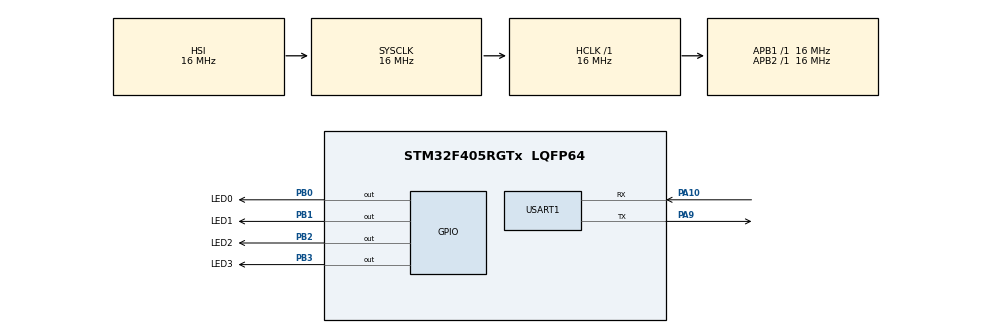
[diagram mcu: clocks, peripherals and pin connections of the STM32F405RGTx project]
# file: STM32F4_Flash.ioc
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Mcu.Family=STM32F4
Mcu.Name=STM32F405RGTx
Mcu.Package=LQFP64
NVIC.PriorityGroup=NVIC_PRIORITYGROUP_4
PA10.Mode=Asynchronous
PA10.Signal=USART1_RX
PA9.Mode=Asynchronous
PA9.Signal=USART1_TX
PB0.GPIO_Label=LED0
PB0.Signal=GPIO_Output
PB1.GPIO_Label=LED1
PB1.Signal=GPIO_Output
PB2.GPIO_Label=LED2
PB2.Signal=GPIO_Output
PB3.GPIO_Label=LED3
PB3.Signal=GPIO_Output
PH0-OSC_IN.Mode=HSE-External-Oscillator
PH0-OSC_IN.Signal=RCC_OSC_IN
PH1-OSC_OUT.Mode=HSE-External-Oscillator
PH1-OSC_OUT.Signal=RCC_OSC_OUT
ProjectManager.HeapSize=0x200
ProjectManager.StackSize=0x400
ProjectManager.TargetToolchain=STM32CubeIDE
RCC.AHBFreq_Value=16000000
RCC.APB1Freq_Value=16000000
RCC.APB2Freq_Value=16000000
RCC.CortexFreq_Value=16000000
RCC.HSE_VALUE=25000000
RCC.HSI_VALUE=16000000
RCC.LSE_VALUE=32768
RCC.SYSCLKFreq_VALUE=16000000
RCC.VCOOutputFreq_Value=192000000
USART1.VirtualMode=VM_ASYNC
board=custom

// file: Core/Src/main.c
/* USER CODE BEGIN Header */
/**
 ******************************************************************************
 * @file           : main.c
 * @brief          : Main program body
 ******************************************************************************
 * @attention
 *
 * Copyright (c) 2022 STMicroelectronics.
 * All rights reserved.
 *
 * This software is licensed under terms that can be found in the LICENSE file
 * in the root directory of this software component.
 * If no LICENSE file comes with this software, it is provided AS-IS.
 *
 ******************************************************************************
 */
/* USER CODE END Header */
#include "main.h"

/* USER CODE BEGIN Includes */
#include <stdio.h>
#include <string.h>
#include <stm32f4xx_hal.h>
#include "Flash.h"
/* USER CODE END Includes */

UART_HandleTypeDef huart1;

void SystemClock_Config(void);
static void MX_GPIO_Init(void);
static void MX_USART1_UART_Init(void);
/* USER CODE BEGIN PFP */
#ifdef __GNUC__
 /* With GCC/RAISONANCE, small printf (option LD Linker->Libraries->Small printf
 set to 'Yes') calls __io_putchar() */
 #define PUTCHAR_PROTOTYPE int __io_putchar(int ch)
#else
 #define PUTCHAR_PROTOTYPE int fputc(int ch, FILE *f)
#endif /* __GNUC__ */
/* USER CODE END PFP */

int main(void)
{
  /* USER CODE BEGIN 1 */
  char *data =
      "hello FLASH from ControllerTech\
          This is a test to see how many words can we work with";

  uint32_t data2[] =
  { 0x1, 0x2, 0x3, 0x4, 0x5, 0x6, 0x7, 0x8, 0x9 };
  uint32_t Rx_Data[30];

  char string[100];

  int number = 123;

  float val = 123.456;
  float RxVal;
  /* USER CODE END 1 */

  /* MCU Configuration--------------------------------------------------------*/

  /* Reset of all peripherals, Initializes the Flash interface and the Systick. */
  HAL_Init();

  /* Configure the system clock */
  SystemClock_Config();

  /* Initialize all configured peripherals */
  MX_GPIO_Init();
  MX_USART1_UART_Init();

  /* Infinite loop */
  while (1)
  {

    /* USER CODE BEGIN 3 */
    Flash_Write_Data(0x08004100, (uint32_t*) data2, 9);
    Flash_Read_Data(0x08004100, Rx_Data, 10);

    int numofwords = (strlen(data) / 4) + ((strlen(data) % 4) != 0);
    Flash_Write_Data(0x08008100, (uint32_t*) data, numofwords);
    Flash_Read_Data(0x08008100, Rx_Data, numofwords);
    Convert_To_Str(Rx_Data, string);

    Flash_Write_NUM(0x0800C100, number);
    //RxVal = Flash_Read_NUM(0x0800C100);

    Flash_Write_NUM(0x0800D100, val);
    RxVal = Flash_Read_NUM(0x0800D100);
    printf("Gia tri RxVal: %d \r\n", (uint16_t)RxVal);
    HAL_GPIO_TogglePin(LED0_GPIO_Port, LED0_Pin);
    HAL_Delay(1000);
  }
  /* USER CODE END 3 */
}

void SystemClock_Config(void)
{
  RCC_OscInitTypeDef RCC_OscInitStruct = {0};
  RCC_ClkInitTypeDef RCC_ClkInitStruct = {0};

  /** Configure the main internal regulator output voltage
  */
  __HAL_RCC_PWR_CLK_ENABLE();
  __HAL_PWR_VOLTAGESCALING_CONFIG(PWR_REGULATOR_VOLTAGE_SCALE1);

  /** Initializes the RCC Oscillators according to the specified parameters
  * in the RCC_OscInitTypeDef structure.
  */
  RCC_OscInitStruct.OscillatorType = RCC_OSCILLATORTYPE_HSI;
  RCC_OscInitStruct.HSIState = RCC_HSI_ON;
  RCC_OscInitStruct.HSICalibrationValue = RCC_HSICALIBRATION_DEFAULT;
  RCC_OscInitStruct.PLL.PLLState = RCC_PLL_NONE;
  if (HAL_RCC_OscConfig(&RCC_OscInitStruct) != HAL_OK)
  {
    Error_Handler();
  }

  /** Initializes the CPU, AHB and APB buses clocks
  */
  RCC_ClkInitStruct.ClockType = RCC_CLOCKTYPE_HCLK|RCC_CLOCKTYPE_SYSCLK
                              |RCC_CLOCKTYPE_PCLK1|RCC_CLOCKTYPE_PCLK2;
  RCC_ClkInitStruct.SYSCLKSource = RCC_SYSCLKSOURCE_HSI;
  RCC_ClkInitStruct.AHBCLKDivider = RCC_SYSCLK_DIV1;
  RCC_ClkInitStruct.APB1CLKDivider = RCC_HCLK_DIV1;
  RCC_ClkInitStruct.APB2CLKDivider = RCC_HCLK_DIV1;

  if (HAL_RCC_ClockConfig(&RCC_ClkInitStruct, FLASH_LATENCY_0) != HAL_OK)
  {
    Error_Handler();
  }
}

static void MX_USART1_UART_Init(void)
{

  huart1.Instance = USART1;
  huart1.Init.BaudRate = 115200;
  huart1.Init.WordLength = UART_WORDLENGTH_8B;
  huart1.Init.StopBits = UART_STOPBITS_1;
  huart1.Init.Parity = UART_PARITY_NONE;
  huart1.Init.Mode = UART_MODE_TX_RX;
  huart1.Init.HwFlowCtl = UART_HWCONTROL_NONE;
  huart1.Init.OverSampling = UART_OVERSAMPLING_16;
  if (HAL_UART_Init(&huart1) != HAL_OK)
  {
    Error_Handler();
  }

}

static void MX_GPIO_Init(void)
{
  GPIO_InitTypeDef GPIO_InitStruct = {0};

  /* GPIO Ports Clock Enable */
  __HAL_RCC_GPIOH_CLK_ENABLE();
  __HAL_RCC_GPIOB_CLK_ENABLE();
  __HAL_RCC_GPIOA_CLK_ENABLE();

  /*Configure GPIO pin Output Level */
  HAL_GPIO_WritePin(GPIOB, LED0_Pin|LED1_Pin|LED2_Pin|LED3_Pin, GPIO_PIN_RESET);

  /*Configure GPIO pins : LED0_Pin LED1_Pin LED2_Pin LED3_Pin */
  GPIO_InitStruct.Pin = LED0_Pin|LED1_Pin|LED2_Pin|LED3_Pin;
  GPIO_InitStruct.Mode = GPIO_MODE_OUTPUT_PP;
  GPIO_InitStruct.Pull = GPIO_NOPULL;
  GPIO_InitStruct.Speed = GPIO_SPEED_FREQ_LOW;
  HAL_GPIO_Init(GPIOB, &GPIO_InitStruct);

}

/* USER CODE BEGIN 4 */
/**
 * @brief Retargets the C library printf function to the USART.
 * @param None
 * @retval None
 */
PUTCHAR_PROTOTYPE
{
  /* Place your implementation of fputc here */
  /* e.g. write a character to the USART */
  HAL_UART_Transmit(&huart1, (uint8_t *)&ch, 1, 100);
  return ch;
}
/* USER CODE END 4 */

void Error_Handler(void)
{
  __disable_irq();
  while (1)
  {
  }
}
